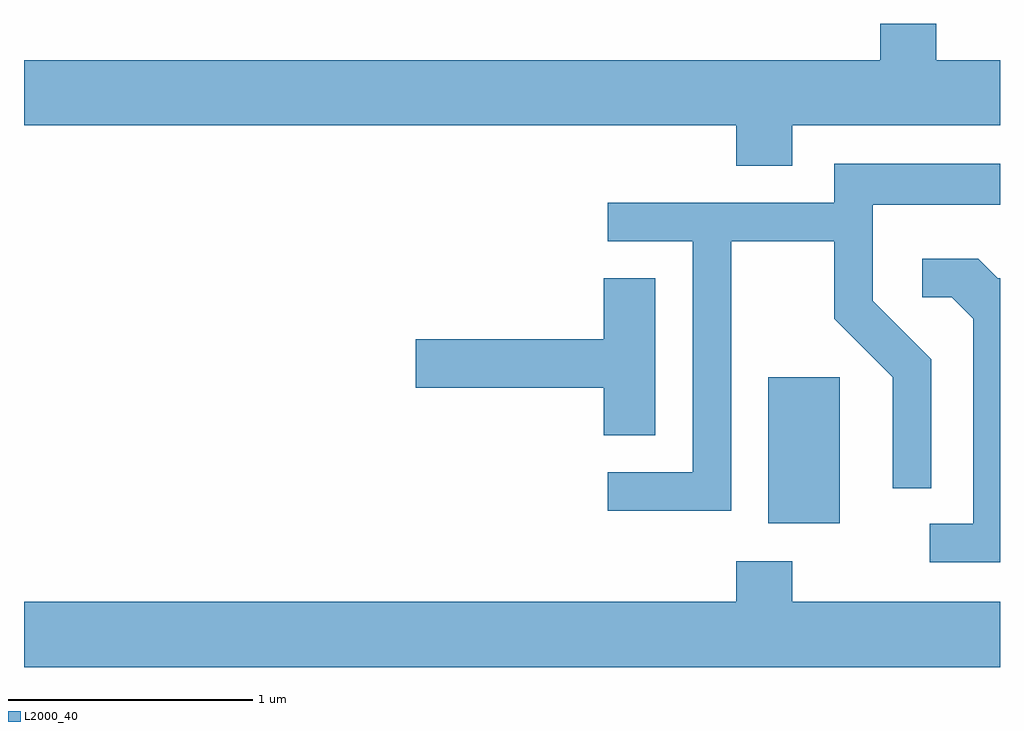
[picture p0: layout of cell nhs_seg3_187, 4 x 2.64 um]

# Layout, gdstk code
import gdstk
lib = gdstk.Library(unit=1e-6, precision=1e-09)
def R(c, l, rs):  # rectangles x0, y0, x1, y1
    for r in rs: c.add(gdstk.rectangle(r[:2], r[2:], *l))
def P(c, l, *ps):  # polygons
    for p in ps: c.add(gdstk.Polygon(p, *l))
L2000_40 = (2000, 40)

nhs_seg3_187 = lib.new_cell('nhs_seg3_187')
R(nhs_seg3_187, L2000_40, [(192.661,1219.846,192.954,1220.444)])
P(nhs_seg3_187, L2000_40, [(192.759,1221.476),(193.611,1221.476),(193.611,1221.744),(193.349,1221.744),(193.349,1221.892),(193.121,1221.892),(193.121,1221.744),(189.611,1221.744),(189.611,1221.476),(192.531,1221.476),(192.531,1221.311),(192.759,1221.311)],
  [(192.509,1221.001),(192.931,1221.001),(192.931,1220.684),(193.171,1220.444),(193.171,1219.988),(193.329,1219.988),(193.329,1220.517),(193.089,1220.757),(193.089,1221.151),(193.611,1221.151),(193.611,1221.319),(192.931,1221.319),(192.931,1221.159),(192.003,1221.159),(192.003,1221.001),(192.351,1221.001),(192.351,1220.054),(192.003,1220.054),(192.003,1219.896),(192.509,1219.896)],
  [(193.611,1220.849),(193.602,1220.849),(193.522,1220.929),(193.293,1220.929),(193.293,1220.771),(193.414,1220.771),(193.501,1220.684),(193.501,1219.844),(193.323,1219.844),(193.323,1219.686),(193.611,1219.686)],
  [(192.199,1220.849),(191.986,1220.849),(191.986,1220.599),(191.216,1220.599),(191.216,1220.401),(191.986,1220.401),(191.986,1220.206),(192.199,1220.206)],
  [(193.611,1219.524),(192.759,1219.524),(192.759,1219.689),(192.531,1219.689),(192.531,1219.524),(189.611,1219.524),(189.611,1219.256),(193.611,1219.256)])

lib.write_gds('nhs_seg3_187.gds')
